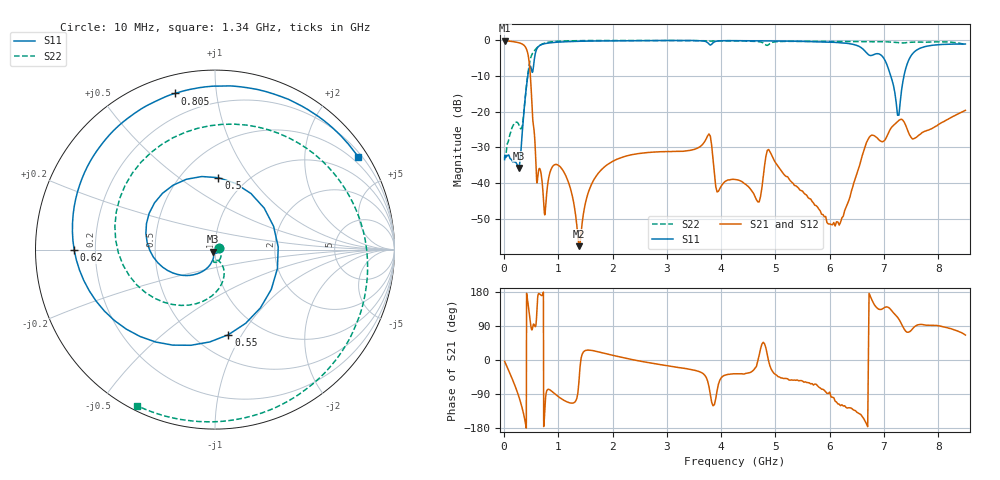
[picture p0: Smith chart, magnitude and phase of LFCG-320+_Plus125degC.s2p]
! Mini-Circuits
! S2P DATA File Format
! Type: LOW PASS FILTER
! Model: LFCG-320+
! All S Parameters are in dB deg format
! TEST CONDITIONS: INPUT POWER = 0 dBm @ Temperature = +125 deg C
# MHz S dB R 50
!Frequency  S11 dB  S11 DEG  S21 dB  S21 DEG  S12 dB  S12 DEG  S22 dB  S22 DEG
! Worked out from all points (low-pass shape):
!   502 points, 10 MHz to 8.5 GHz, reference 50 ohm
!   highest |S21| = -0.23 dB at 10 MHz (marker M1); lowest = -57.5 dB at 1.38 GHz (marker M2)
!   |S21| within 3 dB of the highest: start of sweep to 427.2 MHz
!   lowest |S11| = -35.7 dB at 270 MHz (marker M3), VSWR 1.03, Z = 48.8 - j1.07 ohm
!   |S11| at or under -10 dB: start of sweep to 437.3 MHz; 7.123 GHz to 7.369 GHz (246.7 MHz wide, 3.4 % of centre)
!   |S22| runs from -33.0 to -0.2 dB; largest |S21 - S12| = 0.0014
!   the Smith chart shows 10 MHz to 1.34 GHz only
!   S11 on the Smith chart (normalised r, x): 10 MHz: 1.04, +0.02; 500 MHz: 0.75, +0.71; 550 MHz: 0.71, -0.88; 620 MHz: 0.12, -0.00; 805 MHz: 0.09, +0.77; 1.34 GHz: 0.31, +3.34
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10  -33.41 21.1  -0.23 -3.5  -0.23 -3.5  -33.03 19.7
270  -35.71 -138.2  -0.82 -95.6  -0.82 -95.6  -23.61 -97.2
400  -14.72 -130.3  -2.18 -171.2  -2.18 -171.2  -14.52 -77.7
500  -7.94 87.3  -13.89 84.3  -13.90 84.3  -4.61 159.3
550  -6.38 -81.0  -24.87 94.4  -24.88 94.3  -3.21 92.3
620  -2.11 -179.8  -38.29 166.6  -38.29 166.6  -2.01 28.9
805  -0.93 104.4  -40.14 -77.7  -40.14 -77.7  -0.71 -50.2
1080  -0.59 58.9  -36.30 -104.5  -36.31 -104.5  -0.34 -95.5
1340  -0.44 33.1  -51.63 -101.5  -51.66 -101.5  -0.25 -116.6
1380  -0.43 29.8  -57.54 -56.8  -57.57 -56.6  -0.24 -118.9
1440  -0.41 25.3  -50.93 15.6  -50.93 15.6  -0.24 -122.3
1820  -0.30 0.9  -35.84 18.7  -35.85 18.8  -0.21 -137.8
2840  -0.21 -42.9  -31.25 -11.2  -31.25 -11.2  -0.22 -158.9
4275  -0.23 -79.0  -38.98 -36.5  -38.98 -36.4  -0.32 -175.0
4675  -0.28 -87.4  -45.18 -2.0  -45.17 -2.0  -0.50 179.2
4900  -0.34 -91.6  -31.24 -16.2  -31.24 -16.2  -1.04 -176.7
5675  -0.51 -108.1  -45.06 -62.2  -45.06 -62.3  -0.45 170.5
6150  -0.78 -121.7  -50.78 -115.6  -50.81 -115.6  -0.48 163.8
7100  -8.94 -170.3  -25.40 137.0  -25.41 137.0  -0.61 148.5
7250  -21.04 -137.0  -22.82 112.7  -22.82 112.7  -0.76 146.1
7425  -6.84 -69.1  -24.85 73.3  -24.85 73.3  -0.78 145.1
8500  -1.18 -143.9  -19.67 65.8  -19.67 65.8  -1.47 118.5
